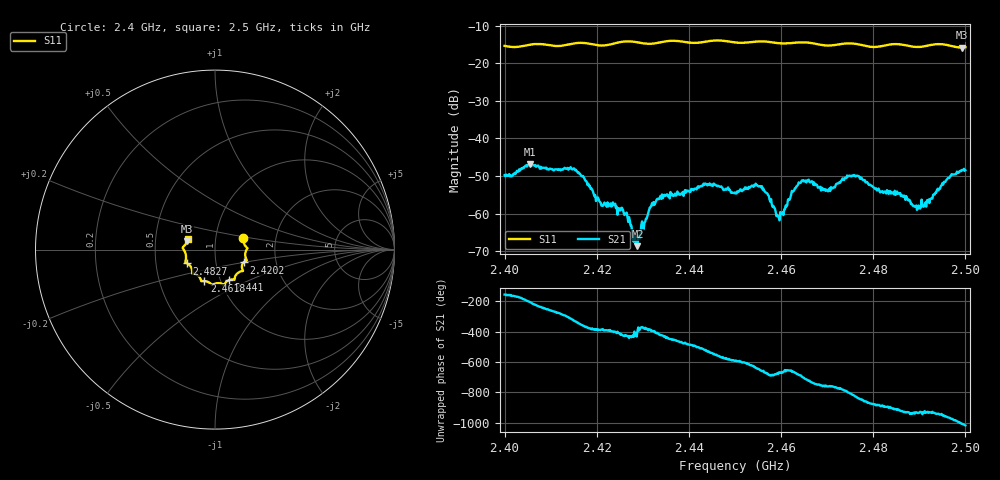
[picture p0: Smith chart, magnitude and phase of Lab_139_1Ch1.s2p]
# Hz S RI R 50
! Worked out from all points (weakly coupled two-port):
!   601 points, 2.4 GHz to 2.5 GHz, reference 50 ohm
!   highest |S21| = -46.93 dB at 2.4055 GHz (marker M1); lowest = -68.7 dB at 2.4288 GHz (marker M2)
!   lowest |S11| = -15.8 dB at 2.4992 GHz (marker M3), VSWR 1.39, Z = 36.5 + j3.61 ohm
!   |S11| at or under -10 dB: start of sweep to end of sweep
!   S12 and S22 are empty: the file has one direction only
!   S11 on the Smith chart (normalised r, x): 2.4 GHz: 1.36, +0.18; 2.4202 GHz: 1.36, -0.20; 2.441 GHz: 1.10, -0.39; 2.4618 GHz: 0.84, -0.30; 2.4827 GHz: 0.72, -0.11; 2.5 GHz: 0.73, +0.09
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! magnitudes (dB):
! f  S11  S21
! 2.4 GHz  -15.4  -49.8
! 2.4055 GHz  -15.0  -46.9
! 2.4167 GHz  -14.6  -50.0
! 2.4202 GHz  -15.2  -55.7
! 2.426 GHz  -14.2  -60.4
! 2.4288 GHz  -14.4  -68.7
! 2.4318 GHz  -14.8  -57.9
! 2.4333 GHz  -14.5  -56.1
! 2.441 GHz  -14.6  -53.8
! 2.45 GHz  -14.4  -54.4
! 2.4553 GHz  -14.2  -52.7
! 2.4595 GHz  -14.6  -61.1
! 2.4618 GHz  -14.7  -56.4
! 2.4643 GHz  -14.4  -51.7
! 2.4667 GHz  -14.6  -51.4
! 2.4702 GHz  -15.3  -54.1
! 2.4763 GHz  -14.8  -50.0
! 2.4827 GHz  -15.2  -54.2
! 2.4833 GHz  -15.1  -54.8
! 2.4898 GHz  -15.6  -57.9
! 2.4992 GHz  -15.8  -48.4
! 2.5 GHz  -15.7  -48.5
